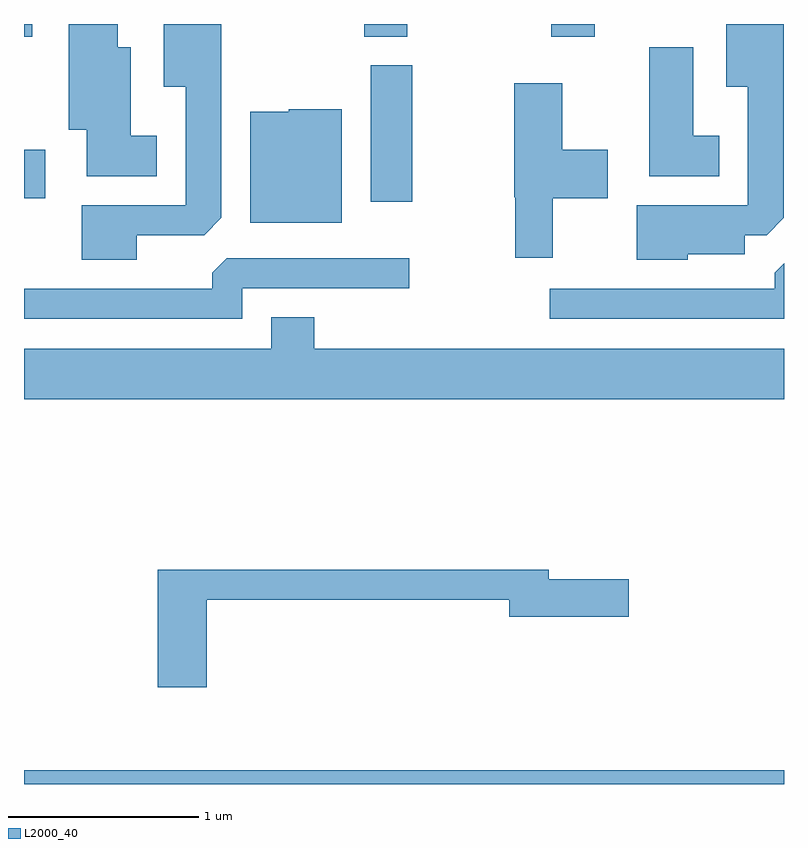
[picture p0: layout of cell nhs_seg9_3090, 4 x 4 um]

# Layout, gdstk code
import gdstk
lib = gdstk.Library(unit=1e-6, precision=1e-09)
def R(c, l, rs):  # rectangles x0, y0, x1, y1
    for r in rs: c.add(gdstk.rectangle(r[:2], r[2:], *l))
def P(c, l, *ps):  # polygons
    for p in ps: c.add(gdstk.Polygon(p, *l))
L2000_40 = (2000, 40)

nhs_seg9_3090 = lib.new_cell('nhs_seg9_3090')
R(nhs_seg9_3090, L2000_40, [(275.611,2016.432,279.611,2016.504), (277.436,2019.496,277.654,2020.214), (275.611,2019.516,275.724,2019.769), (275.611,2020.366,275.654,2020.432), (277.401,2020.366,277.629,2020.432), (278.386,2020.366,278.614,2020.432)])
P(nhs_seg9_3090, L2000_40, [(279.104,2019.221),(279.404,2019.221),(279.404,2019.321),(279.519,2019.321),(279.609,2019.412),(279.609,2020.432),(279.306,2020.432),(279.306,2020.101),(279.421,2020.101),(279.421,2019.479),(278.836,2019.479),(278.836,2019.191),(279.104,2019.191)],
  [(276.309,2019.844),(276.174,2019.844),(276.174,2020.309),(276.104,2020.309),(276.104,2020.432),(275.846,2020.432),(275.846,2019.876),(275.941,2019.876),(275.941,2019.631),(276.309,2019.631)],
  [(276.204,2019.321),(276.559,2019.321),(276.649,2019.412),(276.649,2020.432),(276.346,2020.432),(276.346,2020.101),(276.461,2020.101),(276.461,2019.479),(275.916,2019.479),(275.916,2019.191),(276.204,2019.191)],
  [(279.269,2019.844),(279.134,2019.844),(279.134,2020.309),(278.901,2020.309),(278.901,2019.631),(279.269,2019.631)],
  [(278.394,2019.516),(278.684,2019.516),(278.684,2019.769),(278.444,2019.769),(278.444,2020.119),(278.191,2020.119),(278.191,2019.52),(278.196,2019.52),(278.196,2019.201),(278.394,2019.201)],
  [(277.284,2019.984),(277.005,2019.984),(277.005,2019.969),(276.801,2019.969),(276.801,2019.386),(277.284,2019.386)],
  [(276.759,2019.041),(277.638,2019.041),(277.638,2019.199),(276.677,2019.199),(276.601,2019.124),(276.601,2019.039),(275.611,2019.039),(275.611,2018.881),(276.759,2018.881)],
  [(279.611,2019.173),(279.561,2019.124),(279.561,2019.039),(278.378,2019.039),(278.378,2018.881),(279.611,2018.881)],
  [(279.611,2018.724),(277.139,2018.724),(277.139,2018.889),(276.911,2018.889),(276.911,2018.724),(275.611,2018.724),(275.611,2018.456),(279.611,2018.456)],
  [(276.574,2017.401),(278.166,2017.401),(278.166,2017.311),(278.794,2017.311),(278.794,2017.509),(278.374,2017.509),(278.374,2017.559),(276.316,2017.559),(276.316,2016.941),(276.574,2016.941)])

lib.write_gds('nhs_seg9_3090.gds')
